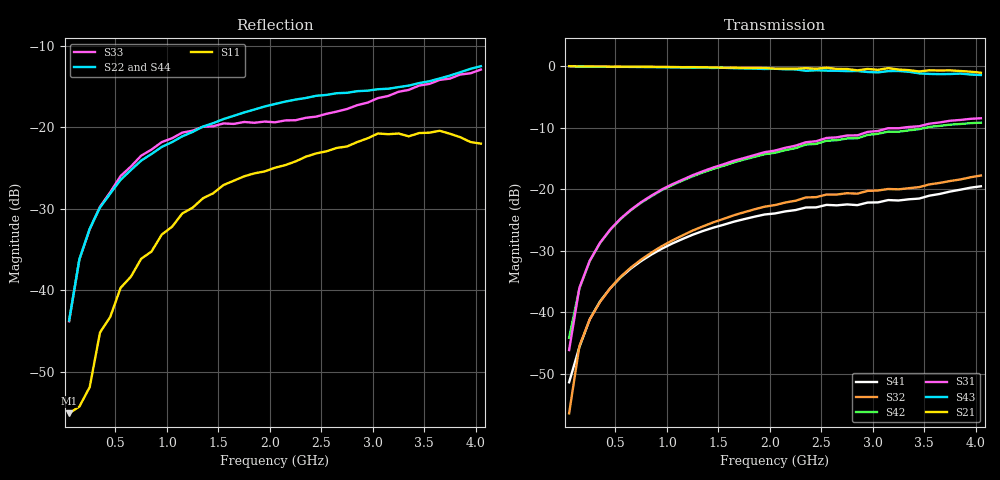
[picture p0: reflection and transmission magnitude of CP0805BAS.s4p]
! Network Analyzer HP8720D.07.14 Serial No. US38111185
! 28 Apr 1999  02:06:29
! Frequency 	S11		S21		S31		S41		S12		S22		S23		S24		S13		S23		S33		S34		S14		S24		S34		S44
# HZ  S  DB R 50
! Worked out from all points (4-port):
!   41 points, 50 MHz to 4.05 GHz, reference 50 ohm
!   strongest paths, dB at 50 MHz, 1.05 GHz, 2.05 GHz, 3.05 GHz, 4.05 GHz:
!     S21: 0.0, -0.1, -0.4, -0.6, -1.0
!     S43: 0.0, -0.2, -0.4, -1.0, -1.4
!     S31: -46.1, -19.2, -13.7, -10.5, -8.4
!     S42: -44.1, -19.3, -14.0, -11.0, -9.1
!     S32: -56.4, -28.3, -22.5, -20.2, -17.7
!     S41: -51.3, -28.8, -23.9, -22.1, -19.5
!   lowest |S11| = -55.1 dB at 50 MHz (marker M1), VSWR 1.00, Z = 50.2 + j0.09 ohm
!   |S11| at or under -10 dB: start of sweep to end of sweep
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5e7  -55.07 30.6  0.00 -0.8  -46.45 85.9  -53.70 70.7
     0.04 -0.8  -43.67 61.7  -54.76 111.8  -44.55 83.9
     -46.11 96.2  -56.40 71.7  -43.78 50.0  0.00 -0.7
     -51.35 74.7  -44.09 87.6  0.03 -0.8  -43.67 61.7
1.5e8  -54.24 -71.2  0.01 -2.4  -35.96 87.7  -45.49 88.7
       -0.01 -2.5  -36.16 72.8  -45.68 89.2  -36.09 86.5
       -35.98 87.2  -45.47 88.7  -36.18 64.4  0.00 -2.9
       -45.61 90.3  -36.09 86.7  -0.01 -2.8  -36.16 72.8
2.5e8  -51.86 -91.4  -0.00 -4.2  -31.52 85.9  -41.13 86.1
       -0.01 -4.2  -32.43 72.8  -41.26 86.3  -31.62 85.4
       -31.60 85.5  -41.13 87.0  -32.49 60.8  -0.01 -4.7
       -41.12 86.8  -31.64 85.3  -0.02 -4.7  -32.43 72.8
5.5e8  -39.68 -108.5  -0.02 -9.1  -24.75 80.5  -34.28 81.2
       -0.03 -9.1  -26.43 70.8  -34.22 84.1  -24.81 80.1
       -24.73 80.6  -34.19 84.1  -25.96 48.9  -0.06 -10.3
       -34.29 81.2  -24.82 80.1  -0.07 -10.3  -26.43 70.8
9.5e8  -33.15 -135.1  -0.07 -15.8  -20.02 73.9  -29.61 74.4
       -0.07 -15.8  -22.40 63.4  -29.23 78.7  -20.13 73.1
       -20.01 73.7  -29.23 78.5  -21.80 31.9  -0.13 -17.6
       -29.64 74.1  -20.11 73.1  -0.13 -17.5  -22.40 63.4
3.05e9  -20.75 133.6  -0.52 -50.1  -10.45 37.1  -21.87 44.2
        -0.56 -49.6  -15.31 8.3  -20.22 42.4  -10.80 37.3
        -10.49 39.7  -20.17 45.1  -16.41 -54.3  -0.67 -55.4
        -22.10 46.2  -10.95 39.2  -0.97 -55.8  -15.31 8.3
4.05e9  -21.99 65.6  -0.89 -66.4  -8.20 21.2  -18.98 43.5
        -1.02 -66.9  -12.49 -48.6  -17.63 39.0  -8.77 21.8
        -8.43 24.2  -17.73 42.5  -12.91 -93.8  -0.96 -73.3
        -19.48 45.1  -9.14 24.1  -1.39 -74.7  -12.49 -48.6
